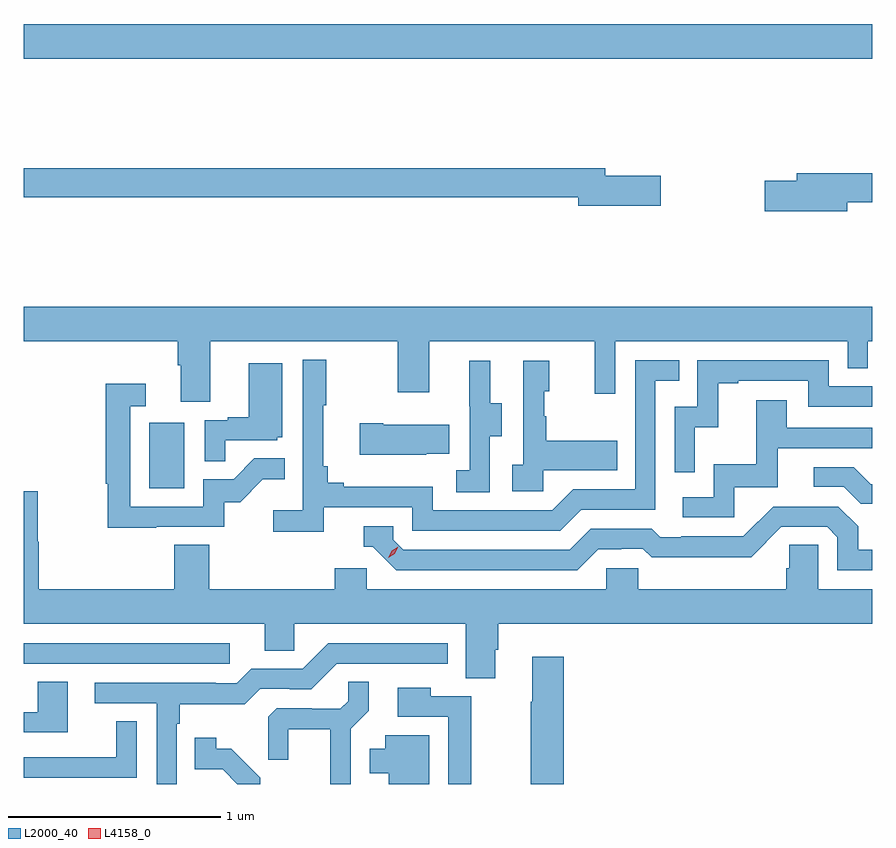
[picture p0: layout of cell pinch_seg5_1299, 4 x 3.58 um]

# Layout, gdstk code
import gdstk
lib = gdstk.Library(unit=1e-6, precision=1e-09)
def R(c, l, rs):  # rectangles x0, y0, x1, y1
    for r in rs: c.add(gdstk.rectangle(r[:2], r[2:], *l))
def P(c, l, *ps):  # polygons
    for p in ps: c.add(gdstk.Polygon(p, *l))
L2000_40 = (2000, 40)
L4158_0 = (4158, 0)

pinch_seg5_1299 = lib.new_cell('pinch_seg5_1299')
R(pinch_seg5_1299, L2000_40, [(309.916,897.864,310.888,897.96), (310.508,898.692,310.672,898.999), (309.916,900.716,313.916,900.88)])
P(pinch_seg5_1299, L2000_40, [(312.919,900.164),(312.658,900.164),(312.658,900.2),(309.916,900.2),(309.916,900.064),(312.53,900.064),(312.53,900.022),(312.919,900.022)],
  [(313.798,900.04),(313.916,900.04),(313.916,900.176),(313.559,900.176),(313.559,900.14),(313.41,900.14),(313.41,899.998),(313.798,899.998)],
  [(310.795,899.384),(311.68,899.384),(311.68,899.145),(311.827,899.145),(311.827,899.384),(312.608,899.384),(312.608,899.136),(312.705,899.136),(312.705,899.384),(313.8,899.384),(313.8,899.257),(313.896,899.257),(313.896,899.384),(313.916,899.384),(313.916,899.548),(309.916,899.548),(309.916,899.384),(310.643,899.384),(310.643,899.272),(310.655,899.272),(310.655,899.098),(310.795,899.098)],
  [(311.33,898.602),(311.748,898.602),(311.748,898.491),(312.445,898.491),(312.544,898.59),(312.894,898.59),(312.894,899.199),(313.007,899.199),(313.007,899.295),(312.798,899.295),(312.798,898.686),(312.507,898.686),(312.408,898.587),(311.844,898.587),(311.844,898.699),(311.425,898.699),(311.425,898.718),(311.348,898.718),(311.348,898.795),(311.329,898.795),(311.329,899.083),(311.341,899.083),(311.341,899.296),(311.232,899.296),(311.232,898.588),(311.091,898.588),(311.091,898.486),(311.33,898.486)],
  [(313.08,898.979),(313.19,898.979),(313.19,899.187),(313.285,899.187),(313.285,899.199),(313.614,899.199),(313.614,899.076),(313.916,899.076),(313.916,899.172),(313.71,899.172),(313.71,899.295),(313.092,899.295),(313.092,899.076),(312.984,899.076),(312.984,898.767),(313.08,898.767)],
  [(312.366,898.775),(312.713,898.775),(312.713,898.915),(312.379,898.915),(312.379,899.03),(312.369,899.03),(312.369,899.148),(312.394,899.148),(312.394,899.293),(312.27,899.293),(312.27,898.802),(312.219,898.802),(312.219,898.677),(312.366,898.677)],
  [(312.114,898.936),(312.169,898.936),(312.169,899.091),(312.115,899.091),(312.115,899.293),(312.017,899.293),(312.017,899.079),(312.018,899.079),(312.018,898.775),(311.955,898.775),(311.955,898.672),(312.114,898.672)],
  [(310.865,898.917),(311.112,898.917),(311.112,898.932),(311.134,898.932),(311.134,899.281),(310.976,899.281),(310.976,899.026),(310.877,899.026),(310.877,899.013),(310.77,899.013),(310.77,898.819),(310.865,898.819)],
  [(310.541,898.509),(310.86,898.509),(310.86,898.626),(310.936,898.626),(311.043,898.733),(311.147,898.733),(311.147,898.832),(311.003,898.832),(310.905,898.734),(310.761,898.734),(310.761,898.605),(310.419,898.605),(310.419,899.079),(310.492,899.079),(310.492,899.185),(310.303,899.185),(310.303,898.712),(310.311,898.712),(310.311,898.504),(310.541,898.504)],
  [(313.266,898.695),(313.471,898.695),(313.471,898.881),(313.916,898.881),(313.916,898.977),(313.513,898.977),(313.513,899.107),(313.369,899.107),(313.369,898.804),(313.17,898.804),(313.17,898.65),(313.023,898.65),(313.023,898.554),(313.266,898.554)],
  [(311.813,898.853),(311.921,898.853),(311.921,898.99),(311.611,898.99),(311.611,898.998),(311.499,898.998),(311.499,898.85),(311.813,898.85)],
  [(313.916,898.71),(313.909,898.71),(313.828,898.791),(313.641,898.791),(313.641,898.698),(313.782,898.698),(313.862,898.618),(313.916,898.618)],
  [(312.139,897.93),(312.152,897.93),(312.152,898.052),(313.916,898.052),(313.916,898.216),(313.662,898.216),(313.662,898.424),(313.525,898.424),(313.525,898.314),(313.511,898.314),(313.511,898.216),(312.813,898.216),(312.813,898.314),(312.663,898.314),(312.663,898.216),(311.532,898.216),(311.532,898.314),(311.381,898.314),(311.381,898.216),(310.79,898.216),(310.79,898.424),(310.625,898.424),(310.625,898.216),(309.986,898.216),(309.986,898.439),(309.981,898.439),(309.981,898.678),(309.916,898.678),(309.916,898.052),(311.051,898.052),(311.051,897.925),(311.19,897.925),(311.19,898.052),(311.999,898.052),(311.999,897.796),(312.139,897.796)],
  [(312.625,898.404),(312.732,898.404),(312.732,898.407),(312.835,898.407),(312.877,898.365),(313.11,898.365),(313.11,898.367),(313.346,898.367),(313.488,898.509),(313.704,898.509),(313.752,898.461),(313.752,898.305),(313.916,898.305),(313.916,898.401),(313.849,898.401),(313.849,898.511),(313.755,898.605),(313.449,898.605),(313.308,898.464),(313.015,898.464),(313.015,898.461),(312.916,898.461),(312.877,898.5),(312.588,898.5),(312.489,898.401),(311.706,898.401),(311.658,898.449),(311.658,898.512),(311.519,898.512),(311.519,898.416),(311.562,898.416),(311.673,898.305),(312.526,898.305)],
  [(310.638,897.581),(310.651,897.581),(310.651,897.674),(310.958,897.674),(311.031,897.747),(311.17,897.747),(311.17,897.744),(311.271,897.744),(311.391,897.864),(311.914,897.864),(311.914,897.96),(311.352,897.96),(311.232,897.84),(310.989,897.84),(310.92,897.771),(310.82,897.771),(310.82,897.774),(310.251,897.774),(310.251,897.678),(310.542,897.678),(310.542,897.297),(310.638,897.297)],
  [(312.461,897.898),(312.314,897.898),(312.314,897.685),(312.307,897.685),(312.307,897.297),(312.461,897.297)],
  [(311.457,897.557),(311.543,897.643),(311.543,897.779),(311.445,897.779),(311.445,897.688),(311.408,897.651),(311.274,897.651),(311.274,897.654),(311.109,897.654),(311.068,897.613),(311.068,897.411),(311.162,897.411),(311.162,897.554),(311.36,897.554),(311.36,897.297),(311.457,897.297)],
  [(310.123,897.779),(309.983,897.779),(309.983,897.636),(309.916,897.636),(309.916,897.54),(310.123,897.54)],
  [(312.025,897.711),(311.835,897.711),(311.835,897.751),(311.679,897.751),(311.679,897.615),(311.916,897.615),(311.916,897.297),(312.025,897.297)],
  [(310.449,897.593),(310.351,897.593),(310.351,897.423),(309.955,897.423),(309.955,897.422),(309.916,897.422),(309.916,897.327),(310.449,897.327)],
  [(311.827,897.526),(311.621,897.526),(311.621,897.463),(311.546,897.463),(311.546,897.347),(311.636,897.347),(311.636,897.297),(311.827,897.297)],
  [(311.032,897.326),(310.894,897.464),(310.824,897.464),(310.824,897.514),(310.723,897.514),(310.723,897.366),(310.854,897.366),(310.923,897.297),(311.032,897.297)])
P(pinch_seg5_1299, L4158_0, [(311.634,898.364),(311.634,898.364),(311.65,898.397),(311.681,898.416),(311.681,898.416),(311.681,898.416),(311.665,898.383),(311.634,898.364)])

lib.write_gds('pinch_seg5_1299.gds')
